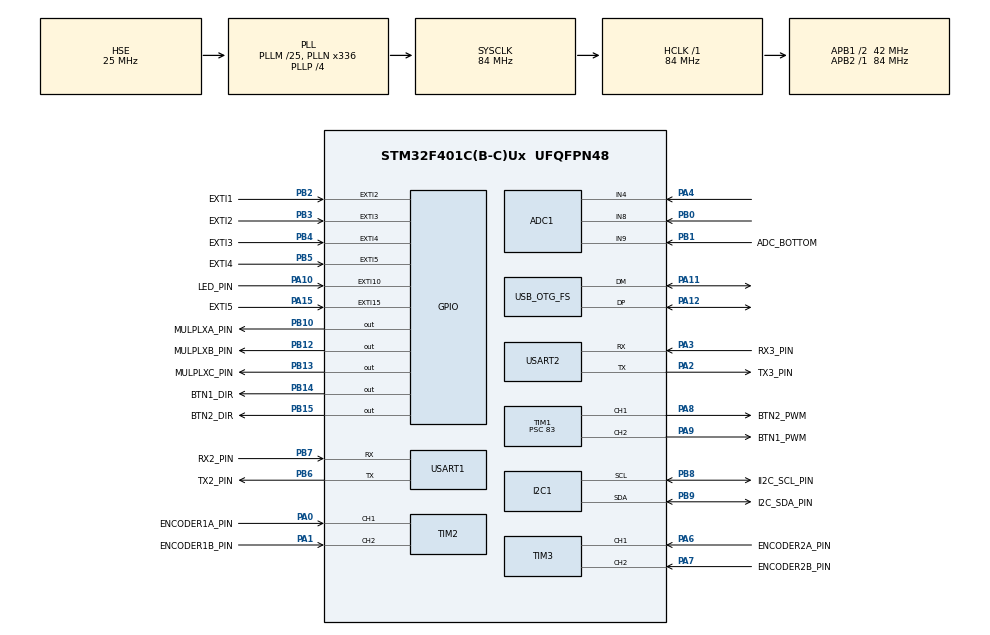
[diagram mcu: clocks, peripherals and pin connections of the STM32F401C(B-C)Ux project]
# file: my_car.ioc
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ADC1.Channel-0\#ChannelRegularConversion=ADC_CHANNEL_8
ADC1.Channel-1\#ChannelRegularConversion=ADC_CHANNEL_9
ADC1.Channel-3\#ChannelRegularConversion=ADC_CHANNEL_4
ADC1.ContinuousConvMode=DISABLE
ADC1.NbrOfConversion=3
ADC1.NbrOfConversionFlag=1
ADC1.Rank-0\#ChannelRegularConversion=1
ADC1.Rank-1\#ChannelRegularConversion=2
ADC1.Rank-3\#ChannelRegularConversion=3
ADC1.SamplingTime-0\#ChannelRegularConversion=ADC_SAMPLETIME_144CYCLES
ADC1.SamplingTime-1\#ChannelRegularConversion=ADC_SAMPLETIME_144CYCLES
ADC1.SamplingTime-3\#ChannelRegularConversion=ADC_SAMPLETIME_56CYCLES
ADC1.ScanConvMode=ENABLE
ADC1.master=1
Dma.ADC1.0.Direction=DMA_PERIPH_TO_MEMORY
Dma.ADC1.0.FIFOMode=DMA_FIFOMODE_DISABLE
Dma.ADC1.0.Instance=DMA2_Stream0
Dma.ADC1.0.MemDataAlignment=DMA_MDATAALIGN_HALFWORD
Dma.ADC1.0.MemInc=DMA_MINC_ENABLE
Dma.ADC1.0.Mode=DMA_NORMAL
Dma.ADC1.0.PeriphDataAlignment=DMA_PDATAALIGN_HALFWORD
Dma.ADC1.0.PeriphInc=DMA_PINC_DISABLE
Dma.ADC1.0.Priority=DMA_PRIORITY_MEDIUM
Dma.Request0=ADC1
FREERTOS.BinarySemaphores01=Sync,Static,SyncControlBlock
FREERTOS.Tasks01=defaultTask,24,128,StartTask,Default,NULL,Static,defaultTaskBuffer,defaultTaskControlBlock;Display,40,128,DisplayTask,Default,NULL,Static,DisplayBuffer,DisplayControlBlock;demo1,8,128,Program1Task,Default,NULL,Dynamic,NULL,NULL;demo2,8,128,Program2Task,Default,NULL,Dynamic,NULL,NULL
FREERTOS.Timers01=SpeedPID,SpeedPID_Callback,osTimerPeriodic,Default,NULL,Dynamic,NULL;LinePID,LinePID_Callback,osTimerPeriodic,Default,NULL,Dynamic,NULL
FREERTOS.configUSE_NEWLIB_REENTRANT=1
I2C1.DutyCycle=I2C_DUTYCYCLE_2
I2C1.I2C_Mode=I2C_Fast
Mcu.Family=STM32F4
Mcu.Name=STM32F401C(B-C)Ux
Mcu.Package=UFQFPN48
NVIC.DMA2_Stream0_IRQn=true\:5\:0\:false\:false\:true\:true\:false\:true\:true
NVIC.EXTI15_10_IRQn=true\:5\:0\:false\:false\:true\:true\:true\:true\:true
NVIC.EXTI2_IRQn=true\:5\:0\:false\:false\:true\:true\:true\:true\:true
NVIC.EXTI3_IRQn=true\:5\:0\:false\:false\:true\:true\:true\:true\:true
NVIC.EXTI4_IRQn=true\:5\:0\:false\:false\:true\:true\:true\:true\:true
NVIC.EXTI9_5_IRQn=true\:5\:0\:false\:false\:true\:true\:true\:true\:true
NVIC.PriorityGroup=NVIC_PRIORITYGROUP_4
NVIC.TIM4_IRQn=true\:15\:0\:false\:false\:true\:false\:true\:true\:true
NVIC.TimeBase=TIM4_IRQn
NVIC.TimeBaseIP=TIM4
PA0-WKUP.GPIO_Label=ENCODER1A_PIN
PA0-WKUP.GPIO_Speed=GPIO_SPEED_FREQ_HIGH
PA0-WKUP.Signal=S_TIM2_CH1_ETR
PA1.GPIO_Label=ENCODER1B_PIN
PA1.GPIO_Speed=GPIO_SPEED_FREQ_HIGH
PA1.Signal=S_TIM2_CH2
PA10.GPIO_Label=LED_PIN
PA10.GPIO_PuPd=GPIO_NOPULL
PA10.Signal=GPXTI10
PA11.GPIO_Speed=GPIO_SPEED_FREQ_LOW
PA11.Mode=Device_Only
PA11.Signal=USB_OTG_FS_DM
PA12.GPIO_Speed=GPIO_SPEED_FREQ_LOW
PA12.Mode=Device_Only
PA12.Signal=USB_OTG_FS_DP
PA15.GPIO_Label=EXTI5
PA15.GPIO_PuPd=GPIO_PULLDOWN
PA15.Signal=GPXTI15
PA2.GPIO_Label=TX3_PIN
PA2.GPIO_PuPd=GPIO_PULLUP
PA2.GPIO_Speed=GPIO_SPEED_FREQ_HIGH
PA2.Mode=Asynchronous
PA2.Signal=USART2_TX
PA3.GPIO_Label=RX3_PIN
PA3.GPIO_PuPd=GPIO_PULLUP
PA3.GPIO_Speed=GPIO_SPEED_FREQ_HIGH
PA3.Mode=Asynchronous
PA3.Signal=USART2_RX
PA4.Signal=ADCx_IN4
PA6.GPIO_Label=ENCODER2A_PIN
PA6.GPIO_PuPd=GPIO_PULLUP
PA6.GPIO_Speed=GPIO_SPEED_FREQ_LOW
PA6.Signal=S_TIM3_CH1
PA7.GPIO_Label=ENCODER2B_PIN
PA7.GPIO_PuPd=GPIO_PULLUP
PA7.Signal=S_TIM3_CH2
PA8.GPIO_Label=BTN2_PWM
PA8.GPIO_PuPd=GPIO_NOPULL
PA8.GPIO_Speed=GPIO_SPEED_FREQ_HIGH
PA8.Signal=S_TIM1_CH1
PA9.GPIO_Label=BTN1_PWM
PA9.GPIO_Speed=GPIO_SPEED_FREQ_HIGH
PA9.Signal=S_TIM1_CH2
PB0.Signal=ADCx_IN8
PB1.GPIO_Label=ADC_BOTTOM
PB1.Signal=ADCx_IN9
PB10.GPIO_Label=MULPLXA_PIN
PB10.GPIO_ModeDefaultOutputPP=GPIO_MODE_OUTPUT_PP
PB10.GPIO_PuPd=GPIO_PULLDOWN
PB10.GPIO_Speed=GPIO_SPEED_FREQ_HIGH
PB10.PinState=GPIO_PIN_RESET
PB10.Signal=GPIO_Output
PB12.GPIO_Label=MULPLXB_PIN
PB12.GPIO_ModeDefaultOutputPP=GPIO_MODE_OUTPUT_PP
PB12.GPIO_PuPd=GPIO_PULLDOWN
PB12.GPIO_Speed=GPIO_SPEED_FREQ_HIGH
PB12.PinState=GPIO_PIN_RESET
PB12.Signal=GPIO_Output
PB13.GPIO_Label=MULPLXC_PIN
PB13.GPIO_PuPd=GPIO_PULLDOWN
PB13.GPIO_Speed=GPIO_SPEED_FREQ_HIGH
PB13.PinState=GPIO_PIN_RESET
PB13.Signal=GPIO_Output
PB14.GPIO_Label=BTN1_DIR
PB14.GPIO_PuPd=GPIO_NOPULL
PB14.GPIO_Speed=GPIO_SPEED_FREQ_HIGH
PB14.PinState=GPIO_PIN_RESET
PB14.Signal=GPIO_Output
PB15.GPIO_Label=BTN2_DIR
PB15.GPIO_PuPd=GPIO_NOPULL
PB15.GPIO_Speed=GPIO_SPEED_FREQ_HIGH
PB15.PinState=GPIO_PIN_RESET
PB15.Signal=GPIO_Output
PB2.GPIO_Label=EXTI1
PB2.GPIO_PuPd=GPIO_PULLDOWN
PB2.Signal=GPXTI2
PB3.GPIO_Label=EXTI2
PB3.GPIO_PuPd=GPIO_PULLDOWN
PB3.Signal=GPXTI3
PB4.GPIO_Label=EXTI3
PB4.GPIO_PuPd=GPIO_PULLDOWN
PB4.Signal=GPXTI4
PB5.GPIO_Label=EXTI4
PB5.GPIO_ModeDefaultEXTI=GPIO_MODE_IT_RISING
PB5.GPIO_PuPd=GPIO_PULLDOWN
PB5.Signal=GPXTI5
PB6.GPIO_Label=TX2_PIN
PB6.GPIO_PuPd=GPIO_PULLUP
PB6.GPIO_Speed=GPIO_SPEED_FREQ_HIGH
PB6.Mode=Asynchronous
PB6.Signal=USART1_TX
PB7.GPIO_Label=RX2_PIN
PB7.GPIO_PuPd=GPIO_PULLUP
PB7.GPIO_Speed=GPIO_SPEED_FREQ_HIGH
PB7.Mode=Asynchronous
PB7.Signal=USART1_RX
PB8.GPIO_Label=II2C_SCL_PIN
PB8.GPIO_Pu=GPIO_PULLUP
PB8.Mode=I2C
PB8.Signal=I2C1_SCL
PB9.GPIO_Label=I2C_SDA_PIN
PB9.GPIO_Pu=GPIO_PULLUP
PB9.Mode=I2C
PB9.Signal=I2C1_SDA
PH0\ -\ OSC_IN.Mode=HSE-External-Oscillator
PH0\ -\ OSC_IN.Signal=RCC_OSC_IN
PH1\ -\ OSC_OUT.Mode=HSE-External-Oscillator
PH1\ -\ OSC_OUT.Signal=RCC_OSC_OUT
ProjectManager.HeapSize=0x200
ProjectManager.StackSize=0x400
ProjectManager.TargetToolchain=STM32CubeIDE
RCC.48MHZClocksFreq_Value=48000000
RCC.AHBFreq_Value=84000000
RCC.APB1CLKDivider=RCC_HCLK_DIV2
RCC.APB1Freq_Value=42000000
RCC.APB1TimFreq_Value=84000000
RCC.APB2Freq_Value=84000000
RCC.APB2TimFreq_Value=84000000
RCC.CortexFreq_Value=84000000
RCC.HCLKFreq_Value=84000000
RCC.HSE_VALUE=25000000
RCC.HSI_VALUE=16000000
RCC.LSE_VALUE=32768
RCC.PLLM=25
RCC.PLLN=336
RCC.PLLP=RCC_PLLP_DIV4
RCC.PLLQ=7
RCC.SYSCLKFreq_VALUE=84000000
RCC.SYSCLKSource=RCC_SYSCLKSOURCE_PLLCLK
RCC.VCOOutputFreq_Value=336000000
SH.ADCx_IN4.0=ADC1_IN4,IN4
SH.ADCx_IN8.0=ADC1_IN8,IN8
SH.ADCx_IN9.0=ADC1_IN9,IN9
SH.S_TIM1_CH1.0=TIM1_CH1,PWM Generation1 CH1
SH.S_TIM1_CH2.0=TIM1_CH2,PWM Generation2 CH2
SH.S_TIM2_CH1_ETR.0=TIM2_CH1,Encoder_Interface
SH.S_TIM2_CH2.0=TIM2_CH2,Encoder_Interface
SH.S_TIM3_CH1.0=TIM3_CH1,Encoder_Interface
SH.S_TIM3_CH2.0=TIM3_CH2,Encoder_Interface
TIM1.Channel-PWM\ Generation1\ CH1=TIM_CHANNEL_1
TIM1.Channel-PWM\ Generation2\ CH2=TIM_CHANNEL_2
TIM1.Period=200
TIM1.Prescaler=83
USART1.VirtualMode=VM_ASYNC
USART2.VirtualMode=VM_ASYNC
USB_OTG_FS.VirtualMode=Device_Only
VP_FREERTOS_VS_CMSIS_V2.Mode=CMSIS_V2
VP_SYS_VS_tim4.Mode=TIM4
board=custom

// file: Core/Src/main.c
/* USER CODE BEGIN Header */
/**
  ******************************************************************************
  * @file           : main.c
  * @brief          : Main program body
  ******************************************************************************
  * @attention
  *
  * Copyright (c) 2023 STMicroelectronics.
  * All rights reserved.
  *
  * This software is licensed under terms that can be found in the LICENSE file
  * in the root directory of this software component.
  * If no LICENSE file comes with this software, it is provided AS-IS.
  *
  ******************************************************************************
  */
/* USER CODE END Header */
#include "main.h"
#include "cmsis_os.h"
#include "adc.h"
#include "dma.h"
#include "i2c.h"
#include "tim.h"
#include "usart.h"
#include "usb_otg.h"
#include "gpio.h"

/* USER CODE BEGIN Includes */
#include "ssd1306.h"
#include "demo.h"
#include "Regulator.h"
#include "Programs.h"
#include "ADC_Bottom.h"
/* USER CODE END Includes */

void SystemClock_Config(void);
void MX_FREERTOS_Init(void);

/* USER CODE BEGIN 0 */
uint16_t AD_RES[3];
/* USER CODE END 0 */

int main(void)
{

  /* MCU Configuration--------------------------------------------------------*/

  /* Reset of all peripherals, Initializes the Flash interface and the Systick. */
  HAL_Init();

  /* Configure the system clock */
  SystemClock_Config();

  /* Initialize all configured peripherals */
  MX_GPIO_Init();
  MX_I2C1_Init();
  MX_TIM1_Init();
  MX_TIM2_Init();
  MX_TIM3_Init();
  MX_USART1_UART_Init();
  MX_USB_OTG_FS_PCD_Init();
  MX_USART2_UART_Init();
  MX_DMA_Init();
  MX_ADC1_Init();

  /* Init scheduler */
  osKernelInitialize();  /* Call init function for freertos objects (in freertos.c) */
  MX_FREERTOS_Init();

  /* Start scheduler */
  osKernelStart();

  /* We should never get here as control is now taken by the scheduler */
  /* Infinite loop */
  /* USER CODE BEGIN WHILE */
  while (1)
  {
//	  ADC_Read(1);
//	  HAL_ADC_Start_DMA(&hadc1, (uint32_t *)AD_RES, 3);
//	  HAL_Delay(1);

//	  ADC_Read(1);
//	  HAL_ADC_Start_DMA(&hadc1, (uint32_t *)AD_RES, 2);
//	  HAL_Delay(1);
//	  robot.ADC_Values[1] = (uint32_t) HAL_ADC_GetValue(&hadc1);
//
//	  HAL_ADC_Stop(&hadc1);

	 // HAL_Delay(500);
//	  robot.ADC_Values[3] = (uint32_t) HAL_ADC_GetValue(&hadc1);
//
//	  HAL_ADC_Stop(&hadc1);

	  //HAL_Delay(500);
//
//	  Line_regulator.current = robot.ADC_Values[1] - robot.ADC_Values[3];

    /* USER CODE END WHILE */

  }
}

void SystemClock_Config(void)
{
  RCC_OscInitTypeDef RCC_OscInitStruct = {0};
  RCC_ClkInitTypeDef RCC_ClkInitStruct = {0};

  /** Configure the main internal regulator output voltage
  */
  __HAL_RCC_PWR_CLK_ENABLE();
  __HAL_PWR_VOLTAGESCALING_CONFIG(PWR_REGULATOR_VOLTAGE_SCALE2);

  /** Initializes the RCC Oscillators according to the specified parameters
  * in the RCC_OscInitTypeDef structure.
  */
  RCC_OscInitStruct.OscillatorType = RCC_OSCILLATORTYPE_HSE;
  RCC_OscInitStruct.HSEState = RCC_HSE_ON;
  RCC_OscInitStruct.PLL.PLLState = RCC_PLL_ON;
  RCC_OscInitStruct.PLL.PLLSource = RCC_PLLSOURCE_HSE;
  RCC_OscInitStruct.PLL.PLLM = 25;
  RCC_OscInitStruct.PLL.PLLN = 336;
  RCC_OscInitStruct.PLL.PLLP = RCC_PLLP_DIV4;
  RCC_OscInitStruct.PLL.PLLQ = 7;
  if (HAL_RCC_OscConfig(&RCC_OscInitStruct) != HAL_OK)
  {
    Error_Handler();
  }

  /** Initializes the CPU, AHB and APB buses clocks
  */
  RCC_ClkInitStruct.ClockType = RCC_CLOCKTYPE_HCLK|RCC_CLOCKTYPE_SYSCLK
                              |RCC_CLOCKTYPE_PCLK1|RCC_CLOCKTYPE_PCLK2;
  RCC_ClkInitStruct.SYSCLKSource = RCC_SYSCLKSOURCE_PLLCLK;
  RCC_ClkInitStruct.AHBCLKDivider = RCC_SYSCLK_DIV1;
  RCC_ClkInitStruct.APB1CLKDivider = RCC_HCLK_DIV2;
  RCC_ClkInitStruct.APB2CLKDivider = RCC_HCLK_DIV1;

  if (HAL_RCC_ClockConfig(&RCC_ClkInitStruct, FLASH_LATENCY_2) != HAL_OK)
  {
    Error_Handler();
  }
}

void HAL_TIM_PeriodElapsedCallback(TIM_HandleTypeDef *htim)
{
  if (htim->Instance == TIM4) {
    HAL_IncTick();
  }
}

void Error_Handler(void)
{
  __disable_irq();
  while (1)
  {
  }
}

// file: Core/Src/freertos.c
/* USER CODE BEGIN Header */
/**
  ******************************************************************************
  * File Name          : freertos.c
  * Description        : Code for freertos applications
  ******************************************************************************
  * @attention
  *
  * Copyright (c) 2023 STMicroelectronics.
  * All rights reserved.
  *
  * This software is licensed under terms that can be found in the LICENSE file
  * in the root directory of this software component.
  * If no LICENSE file comes with this software, it is provided AS-IS.
  *
  ******************************************************************************
  */
/* USER CODE END Header */

#include "FreeRTOS.h"
#include "task.h"
#include "main.h"
#include "cmsis_os.h"

/* USER CODE BEGIN Includes */
#include "ssd1306.h"
#include "demo.h"
#include "Regulator.h"
#include "Programs.h"
#include "ADC_Bottom.h"
/* USER CODE END Includes */

typedef StaticTask_t osStaticThreadDef_t;

/* Definitions for defaultTask */
osThreadId_t defaultTaskHandle;
uint32_t defaultTaskBuffer[ 128 ];
osStaticThreadDef_t defaultTaskControlBlock;
const osThreadAttr_t defaultTask_attributes = {
  .name = "defaultTask",
  .cb_mem = &defaultTaskControlBlock,
  .cb_size = sizeof(defaultTaskControlBlock),
  .stack_mem = &defaultTaskBuffer[0],
  .stack_size = sizeof(defaultTaskBuffer),
  .priority = (osPriority_t) osPriorityNormal,
};
/* Definitions for Display */
osThreadId_t DisplayHandle;
uint32_t DisplayBuffer[ 128 ];
osStaticThreadDef_t DisplayControlBlock;
const osThreadAttr_t Display_attributes = {
  .name = "Display",
  .cb_mem = &DisplayControlBlock,
  .cb_size = sizeof(DisplayControlBlock),
  .stack_mem = &DisplayBuffer[0],
  .stack_size = sizeof(DisplayBuffer),
  .priority = (osPriority_t) osPriorityHigh,
};
/* Definitions for demo1 */
osThreadId_t demo1Handle;
const osThreadAttr_t demo1_attributes = {
  .name = "demo1",
  .stack_size = 128 * 4,
  .priority = (osPriority_t) osPriorityLow,
};
/* Definitions for demo2 */
osThreadId_t demo2Handle;
const osThreadAttr_t demo2_attributes = {
  .name = "demo2",
  .stack_size = 128 * 4,
  .priority = (osPriority_t) osPriorityLow,
};
/* Definitions for SpeedPID */
osTimerId_t SpeedPIDHandle;
const osTimerAttr_t SpeedPID_attributes = {
  .name = "SpeedPID"
};
/* Definitions for LinePID */
osTimerId_t LinePIDHandle;
const osTimerAttr_t LinePID_attributes = {
  .name = "LinePID"
};

void StartTask(void *argument);
void DisplayTask(void *argument);
void Program1Task(void *argument);
void Program2Task(void *argument);
void SpeedPID_Callback(void *argument);
void LinePID_Callback(void *argument);

void MX_FREERTOS_Init(void); /* (MISRA C 2004 rule 8.1) */

void MX_FREERTOS_Init(void) {

  /* Create the timer(s) */
  /* creation of SpeedPID */
  SpeedPIDHandle = osTimerNew(SpeedPID_Callback, osTimerPeriodic, NULL, &SpeedPID_attributes);

  /* creation of LinePID */
  LinePIDHandle = osTimerNew(LinePID_Callback, osTimerPeriodic, NULL, &LinePID_attributes);

  /* Create the thread(s) */
  /* creation of defaultTask */
  defaultTaskHandle = osThreadNew(StartTask, NULL, &defaultTask_attributes);

  /* creation of Display */
  DisplayHandle = osThreadNew(DisplayTask, NULL, &Display_attributes);

  /* creation of demo1 */
//  demo1Handle = osThreadNew(Program1Task, NULL, &demo1_attributes);

  /* creation of demo2 */
//  demo2Handle = osThreadNew(Program2Task, NULL, &demo2_attributes);

  /* USER CODE BEGIN RTOS_THREADS */
  osThreadSuspend(DisplayHandle);
  osThreadSuspend(demo1Handle);
  osThreadSuspend(demo2Handle);
  /* USER CODE END RTOS_THREADS */

}

#define TEST
void StartTask(void *argument)
{
  /* USER CODE BEGIN StartTask */
	  robot.globalState = 0;
  /* Infinite loop */
  for(;;)
  {
#ifdef TEST
	  demo2Handle = osThreadNew(Program2Task, NULL, &demo2_attributes);
	  osThreadSuspend(defaultTaskHandle);
#else
	  Robot_Init();

	  osThreadResume(DisplayHandle);
	  osThreadSuspend(defaultTaskHandle);
	  taskYIELD();

	  robot.demo.constructor = &ConstrctionProgram;
	  robot.demo.destructor = &DestrctionProgram;
	  robot.globalState++;

	  if(robot.currentProg == 0) demo1Handle = osThreadNew(Program1Task, NULL, &demo1_attributes);
	  if(robot.currentProg == 1) demo2Handle = osThreadNew(Program2Task, NULL, &demo2_attributes);

	  osThreadResume(DisplayHandle);
	  osThreadResume(demo1Handle);
	  osThreadSuspend(defaultTaskHandle);
#endif
  }
  /* USER CODE END StartTask */
}

void DisplayTask(void *argument)
{
  /* USER CODE BEGIN DisplayTask */
  /* Infinite loop */
  for(;;)
  {
	  switch(robot.globalState)
	  {
	  // welcome window
	  case 0:
		  SSD1306_Init();

		  FirstScreen();
		  SSD1306_UpdateScreen();

		  HAL_Delay(4000);
		  SSD1306_Fill(SSD1306_COLOR_BLACK);

		  MenuRectangle();
		  SSD1306_DrawFilledRectangle(indicator_X, indicator_Y, 110, 13, SSD1306_COLOR_WHITE);
		  ShowMenuItems();

		  SSD1306_UpdateScreen();
		  robot.globalState = 1;
		  break;
	  // select program
	  case 1:
			NewFrameMenu();
			break;
	  // select input value
	  case 2:
			ParameterMenu(robot.currentProg);
			break;
	 // suspend task
	  case 3:
		  osThreadResume(defaultTaskHandle);
		  osThreadSuspend(DisplayHandle);
		  taskYIELD();
		  break;
	  // draw progress window
	  case 4:
			ScreenExecution();
			robot.globalState = 5;
			break;
	 // draw real time progress
	  case 5:
		  robot.demo.draw();
		  break;
	  }

	  SSD1306_UpdateScreen();
	  osDelay(200 / portTICK_RATE_MS);
  }
  /* USER CODE END DisplayTask */
}

void Program1Task(void *argument)
{
  /* USER CODE BEGIN Program1Task */
	osTimerStart(SpeedPIDHandle, (10 / portTICK_RATE_MS));

	robot.demo.constructor();
  /* Infinite loop */
  for(;;)
  {
		if(robot.isStart){
			robot.demo.runner();
		}
		else
		{
			robot.globalState = 1;
			osThreadSuspend(DisplayHandle);
			osTimerStop(SpeedPIDHandle);
			robot.demo.destructor();
			osThreadResume(defaultTaskHandle);
			osDelay(500 / portTICK_RATE_MS);
			break;
		}
		InformationForProgram1();
		osDelay(25 / portTICK_RATE_MS);
  }
  /* USER CODE END Program1Task */
  vTaskDelete(NULL);
}

void Program2Task(void *argument)
{
  /* USER CODE BEGIN Program2Task */
	osTimerStart(LinePIDHandle, (10 / portTICK_RATE_MS));

	robot.demo.constructor();
  /* Infinite loop */
  for(;;)
  {
		if(robot.isStart){
			robot.demo.runner();
		}
		else
		{
			robot.globalState = 1;
			osThreadSuspend(DisplayHandle);
			osTimerStop(LinePIDHandle);
			robot.demo.destructor();
			osThreadResume(defaultTaskHandle);
			osDelay(500 / portTICK_RATE_MS);
			break;
	}
	InformationForProgram2();
	osDelay(50 / portTICK_RATE_MS);
  }
  /* USER CODE END Program2Task */
}

/* SpeedPID_Callback function */
void SpeedPID_Callback(void *argument)
{
  /* USER CODE BEGIN SpeedPID_Callback */
	Enc[0] = TIM2->CNT;
	Enc[1] = TIM3->CNT;

	wheel_angle[0] = Enc[0] * disk_to_real; // angle distanse
	wheel_v[0] = wheel_angle[0] / 0.01;

	wheel_angle[1] = Enc[1] * disk_to_real; // angle distanse
	wheel_v[1] = wheel_angle[1] / 0.01;

	PID_regulator[0].current = -wheel_v[0];
	PID_regulator[1].current = wheel_v[1];
  /* USER CODE END SpeedPID_Callback */
}

/* LinePID_Callback function */
void LinePID_Callback(void *argument)
{
}
